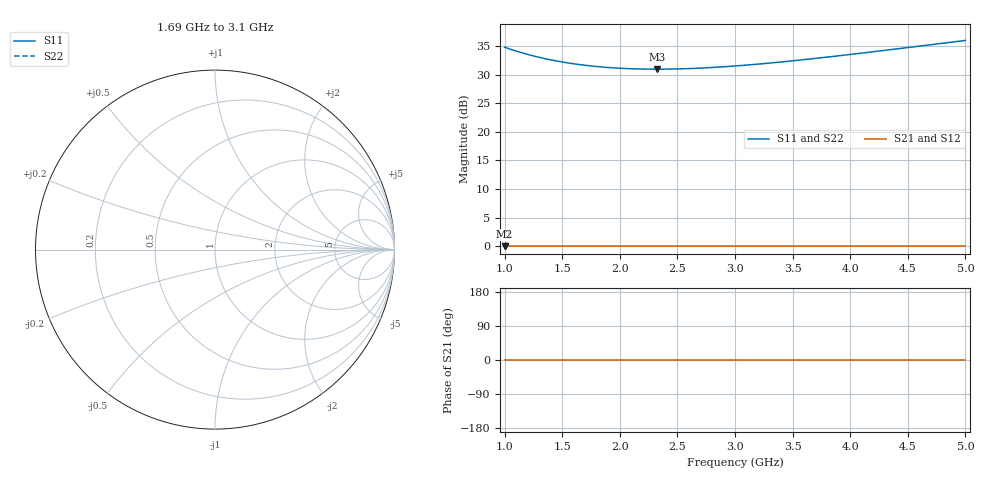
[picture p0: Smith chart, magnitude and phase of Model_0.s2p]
# GHZ S RI R 50
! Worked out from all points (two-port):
!   401 points, 1 GHz to 5 GHz, reference 50 ohm
!   highest |S21| = 0.00 dB at 1 GHz (marker M1); lowest = 0.0 dB at 1 GHz (marker M2)
!   |S21| within 3 dB of the highest: start of sweep to end of sweep
!   lowest |S11| = 31.0 dB at 2.32 GHz (marker M3)
!   |S11| at or under -10 dB: nowhere
!   |S22| runs from 31.0 to 36.0 dB; largest |S21 - S12| = 0
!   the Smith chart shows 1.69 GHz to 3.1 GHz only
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1  55 0  1 0  1 0  55 0
1.15  49.12 0  1 0  1 0  49.12 0
1.22  46.96 0  1 0  1 0  46.96 0
1.3  44.84 0  1 0  1 0  44.84 0
1.38  43.04 0  1 0  1 0  43.04 0
1.47  41.34 0  1 0  1 0  41.34 0
1.57  39.78 0  1 0  1 0  39.78 0
1.67  38.52 0  1 0  1 0  38.52 0
1.82  37.1 0  1 0  1 0  37.1 0
1.97  36.14 0  1 0  1 0  36.14 0
2.14  35.52 0  1 0  1 0  35.52 0
2.32  35.32 0  1 0  1 0  35.32 0
2.34  35.32 0  1 0  1 0  35.32 0
2.5  35.5 0  1 0  1 0  35.5 0
2.66  35.95 0  1 0  1 0  35.95 0
3  37.67 0  1 0  1 0  37.67 0
3.33  40.19 0  1 0  1 0  40.19 0
3.67  43.56 0  1 0  1 0  43.56 0
4  47.5 0  1 0  1 0  47.5 0
4.34  52.19 0  1 0  1 0  52.19 0
4.63  56.67 0  1 0  1 0  56.67 0
5  63 0  1 0  1 0  63 0
